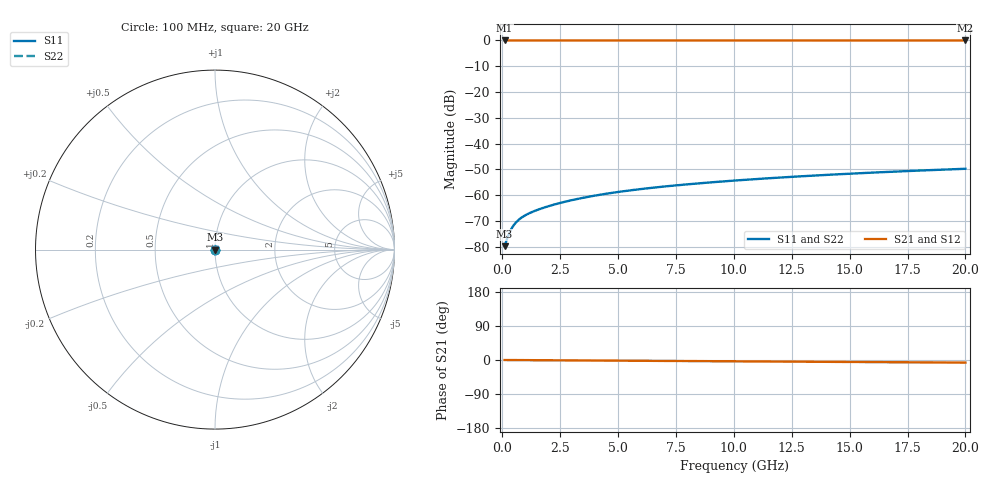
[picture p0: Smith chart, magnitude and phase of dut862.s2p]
! Touchstone file exported from HFSS 2026.1.0
!  File:  C:/ffzhzh/LocalFiles/Ansys_Project_Files/temp_train_TSV_862_1783185363_55132.aedt
!  Generated:  01:17:21 AM Jul  5, 2026
!  Design:  TSV
!  Project:  temp_train_TSV_862_1783185363_55132
! Variables:
!  h_bsmrdl = 2um
!  h_ox = 20um
!  h_rdl = 5um
!  h_sub = 66.42um
!  h_tmrdl = 5um
!  h_tsv = 66.42um
!  h_via = 3um
!  l_bsmrdl = 300um
!  l_sub = 423.16um
!  l_tmrdl = 200um
!  m_sub = 200um
!  pitch = 47.46um
!  r_tsv = 11.58um
!  s_tmrdl = 10um
!  w_bsmrdl = 18um
!  w_sub = 500um
!  w_tmrdl = 12um
!  x_tsv_center1 = 206um
!  x_tsv_center2 = 524um
!  x_tsv_center3 = 736um
!  x_tsv_center4 = 1054um
!  x_tsv_center5 = 1266um
!  x_tsv_center6 = 1584um
# GHz S MA R 50.000000
! Terminal data exported
! Port[1] = TSV1_1_T1
! Port[2] = TSV1_1_T2
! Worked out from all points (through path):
!   200 points, 100 MHz to 20 GHz, reference 50 ohm
!   highest |S21| = 0.00 dB at 100 MHz (marker M1); lowest = 0.0 dB at 20 GHz (marker M2)
!   lowest |S11| = -79.7 dB at 100 MHz (marker M3), VSWR 1.00, Z = 50 + j0.00512 ohm
!   |S11| at or under -10 dB: start of sweep to end of sweep
!   |S22| runs from -79.7 to -49.7 dB; largest |S21 - S12| = 2.2e-15
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0.1  0.0001031 29.7  0.9999 -0.0  0.9999 -0.0  0.0001031 29.7
! Gamma 0 0 0 0
! Port Impedance 50 0 50 0
0.2  0.0001413 44.8  0.9999 -0.1  0.9999 -0.1  0.0001413 44.8
0.3  0.0001846 51.1  0.9999 -0.1  0.9999 -0.1  0.0001846 51.1
0.4  0.0002266 53.5  0.9999 -0.1  0.9999 -0.1  0.0002266 53.5
0.5  0.0002653 54.4  0.9998 -0.2  0.9998 -0.2  0.0002653 54.4
0.6  0.0003003 54.6  0.9998 -0.2  0.9998 -0.2  0.0003003 54.6
0.7  0.0003318 54.6  0.9998 -0.3  0.9998 -0.3  0.0003318 54.6
0.9  0.0003866 54.5  0.9998 -0.3  0.9998 -0.3  0.0003866 54.5
1.1  0.0004339 54.7  0.9997 -0.4  0.9997 -0.4  0.0004339 54.7
1.3  0.0004768 55.2  0.9997 -0.5  0.9997 -0.5  0.0004769 55.2
1.9  0.0005955 57.3  0.9997 -0.7  0.9997 -0.7  0.0005955 57.3
2.6  0.0007286 59.5  0.9996 -0.9  0.9996 -0.9  0.0007286 59.5
3.5  0.0008953 61.3  0.9996 -1.2  0.9996 -1.2  0.0008952 61.3
4.2  0.00102 62.2  0.9995 -1.5  0.9995 -1.5  0.00102 62.2
5  0.001157 62.9  0.9995 -1.7  0.9995 -1.7  0.001157 62.9
5.9  0.001305 63.5  0.9995 -2.0  0.9995 -2.0  0.001305 63.5
6.8  0.001447 63.9  0.9994 -2.4  0.9994 -2.4  0.001447 63.9
8.3  0.001675 64.5  0.9994 -2.9  0.9994 -2.9  0.001674 64.5
10.1  0.001937 65.0  0.9993 -3.5  0.9993 -3.5  0.001937 65.0
13.4  0.0024 65.5  0.9992 -4.6  0.9992 -4.6  0.002399 65.5
16.7  0.002842 65.5  0.9991 -5.8  0.9991 -5.8  0.002841 65.5
20  0.00326 65.1  0.999 -6.9  0.999 -6.9  0.003259 65.2
